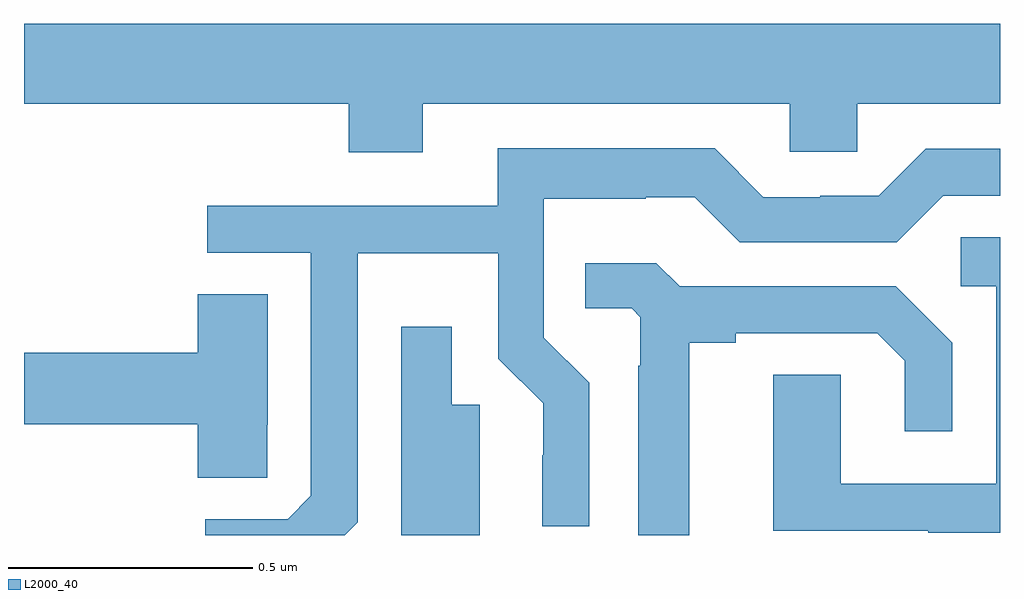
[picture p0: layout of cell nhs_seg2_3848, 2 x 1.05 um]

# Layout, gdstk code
import gdstk
lib = gdstk.Library(unit=1e-6, precision=1e-09)
def P(c, l, *ps):  # polygons
    for p in ps: c.add(gdstk.Polygon(p, *l))
L2000_40 = (2000, 40)

nhs_seg2_3848 = lib.new_cell('nhs_seg2_3848')
P(nhs_seg2_3848, L2000_40, [(159.817,599.684),(160.569,599.684),(160.569,599.586),(160.707,599.586),(160.707,599.684),(161,599.684),(161,599.848),(159,599.848),(159,599.684),(159.665,599.684),(159.665,599.585),(159.817,599.585)],
  [(159.684,598.827),(159.684,599.378),(159.972,599.378),(159.972,599.162),(160.064,599.07),(160.064,598.964),(160.062,598.964),(160.062,598.818),(160.158,598.818),(160.158,599.112),(160.065,599.205),(160.065,599.489),(160.274,599.489),(160.274,599.493),(160.374,599.493),(160.467,599.4),(160.788,599.4),(160.884,599.496),(161,599.496),(161,599.592),(160.848,599.592),(160.752,599.496),(160.632,599.496),(160.632,599.493),(160.515,599.493),(160.415,599.593),(159.971,599.593),(159.971,599.475),(159.375,599.475),(159.375,599.379),(159.588,599.379),(159.588,598.881),(159.54,598.833),(159.371,598.833),(159.371,598.8),(159.657,598.8)],
  [(161,599.411),(160.92,599.411),(160.92,599.31),(160.992,599.31),(160.992,598.905),(160.674,598.905),(160.674,599.129),(160.535,599.129),(160.535,598.809),(160.853,598.809),(160.853,598.805),(161,598.805)],
  [(160.363,599.194),(160.459,599.194),(160.459,599.214),(160.748,599.214),(160.805,599.157),(160.805,599.013),(160.902,599.013),(160.902,599.194),(160.786,599.31),(160.344,599.31),(160.296,599.357),(160.15,599.357),(160.15,599.265),(160.245,599.265),(160.263,599.247),(160.263,599.147),(160.259,599.147),(160.259,598.8),(160.363,598.8)],
  [(159.498,599.026),(159.499,599.026),(159.499,599.294),(159.356,599.294),(159.356,599.174),(159,599.174),(159,599.027),(159.356,599.027),(159.356,598.918),(159.498,598.918)],
  [(159.934,599.067),(159.877,599.067),(159.877,599.227),(159.773,599.227),(159.773,598.8),(159.934,598.8)])

lib.write_gds('nhs_seg2_3848.gds')
